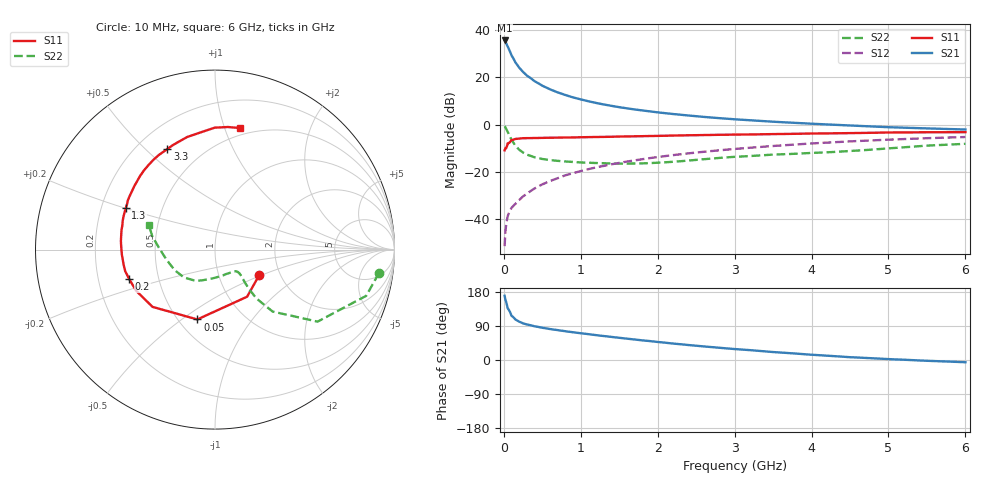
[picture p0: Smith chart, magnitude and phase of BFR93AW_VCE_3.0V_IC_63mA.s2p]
! Infineon Technologies  Discrete & RF Semiconductors
! BFR93AW
! VCE =  3.0 V,  IC =  63 mA
! Common Emitter S-Parameters:  Jan 2017
# GHz  S  MA  R  50
!  f  S11  S21  S12  S22
! GHz  MAG  ANG  MAG  ANG  MAG  ANG  MAG  ANG
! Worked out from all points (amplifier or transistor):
!   77 points, 10 MHz to 6 GHz, reference 50 ohm
!   highest |S21| = 35.5 dB at 10 MHz (marker M1)
!   |S21| within 3 dB of that: start of sweep to 56.84 MHz
!   unconditionally stable (mu >= 1): 295.1 MHz to 2.238 GHz
!   at 130 MHz: K = 0.73, MSG = 30.9 dB, |S12| = -34.2 dB
!   at 2.2 GHz: K = 1.00, MAG = 8.3 dB, |S12| = -12.9 dB
!   at 6 GHz: K = 0.93, MSG = 1.6 dB, |S12| = -5.3 dB
!   S11 on the Smith chart (normalised r, x): 10 MHz: 1.56, -0.48; 50 MHz: 0.62, -0.57; 200 MHz: 0.34, -0.15; 1.3 GHz: 0.30, +0.20; 3.3 GHz: 0.32, +0.59; 6 GHz: 0.43, +1.12
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0.01  0.2845 -30.0  59.61 169.4  0.0027 78.9  0.9222 -8.2
0.02  0.3176 -55.7  57.37 159.6  0.0055 77.9  0.881 -17.0
0.05  0.4014 -104.2  44.58 136.5  0.0116 63.4  0.6984 -35.1
0.1  0.4721 -137.5  28.9 116.6  0.0174 59.3  0.4708 -47.1
0.15  0.4959 -152.5  20.61 107.0  0.0211 61.7  0.3554 -49.7
0.2  0.5052 -160.9  15.86 101.1  0.0255 64.9  0.2934 -49.2
0.25  0.5146 -166.6  12.89 96.7  0.0304 67.0  0.2563 -48.1
0.3  0.5159 -170.8  10.81 93.7  0.0345 68.4  0.2312 -46.8
0.4  0.5195 -176.7  8.217 88.9  0.0447 71.0  0.2031 -44.9
0.5  0.5226 178.5  6.606 85.1  0.0545 72.2  0.1873 -44.1
0.6  0.5266 174.7  5.544 81.7  0.0641 72.9  0.1775 -44.5
0.7  0.5286 171.4  4.774 78.9  0.0736 73.5  0.1709 -45.2
0.9  0.5335 165.3  3.738 73.2  0.0939 72.9  0.1621 -48.9
1.1  0.5422 160.0  3.098 68.2  0.1143 72.2  0.1562 -53.9
1.3  0.5483 154.9  2.648 63.2  0.134 70.8  0.1524 -60.0
1.7  0.5637 146.0  2.082 54.1  0.175 67.7  0.1504 -75.9
2.1  0.58 137.6  1.736 45.6  0.2158 64.0  0.1595 -93.5
3.1  0.6148 118.9  1.26 27.5  0.314 53.5  0.2119 -127.6
3.3  0.6203 115.3  1.202 24.4  0.3329 51.3  0.221 -133.0
4.1  0.6479 102.4  1.023 12.7  0.4065 42.3  0.2549 -155.9
5.1  0.6802 88.9  0.868 1.5  0.486 30.8  0.3218 175.5
6  0.691 78.6  0.785 -5.9  0.5452 20.5  0.3919 159.7
